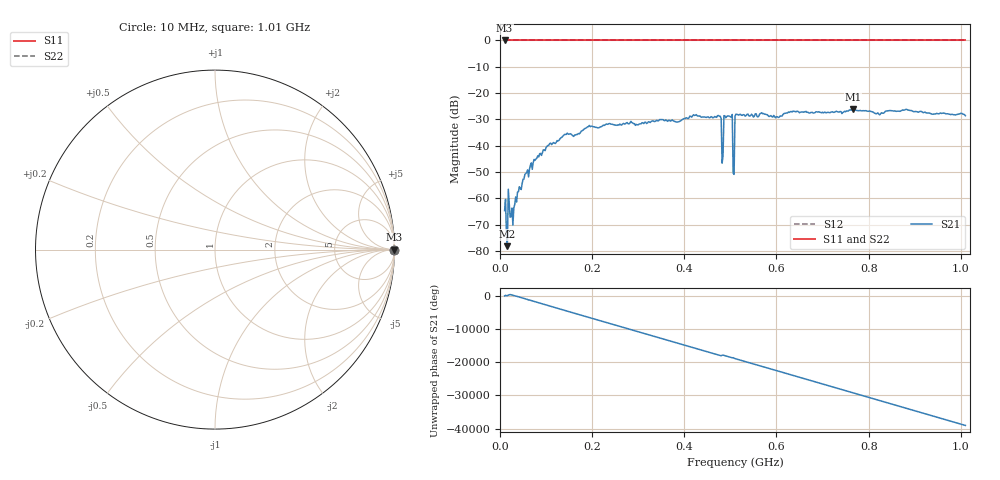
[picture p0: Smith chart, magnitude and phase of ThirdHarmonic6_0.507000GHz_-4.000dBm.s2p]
! 8/15/2025 3:21:28 PM
! C:\ANRITSUVNA\TEMP\TEMP.S2P
! CHANNEL.1
! TR.MEASUREMENT
! RAW.DATA
! RF.CORRECTION.OFF
! AVERAGING.OFF
! IF.BANDWIDTH: 5KHZ
! SWEEPTYPE:  FREQ.SWEEP(Linear)
! Reference Plane Port Info
! PORT:  PORT1  PORT2
! DISTANCE:  0  m  0  m
! TIME:  0  s  0  s
! PHASE.OFFSET:  0  deg.  0  deg.
! LOSS:  0  dB  0  dB
! REF.LOSS:  0  dB  0  dB
! REF.FREQ:  0  Hz  0  Hz
! Power Info
! POWER:  -20  dBm  -20  dBm
! EFF.POWER:  -20  dBm  -20  dBm
! SOURCE.ATTEN:  0  dB  0  dB
! TEST.ATTEN:  0  dB  0  dB
# GHZ S RI R 50.0
! FREQ.GHZ  S11RE  S11IM  S21RE  S21IM  S12RE  S12IM  S22RE  S22IM
!; PortSelection: Port_12
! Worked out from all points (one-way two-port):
!   501 points, 10 MHz to 1.01 GHz, reference 50 ohm
!   highest |S21| = -25.98 dB at 766 MHz (marker M1); lowest = -78.1 dB at 16 MHz (marker M2)
!   lowest |S11| = 0.0 dB at 10 MHz (marker M3)
!   |S11| at or under -10 dB: nowhere
!   |S22| runs from 0.0 to 0.0 dB; largest |S21 - S12| = 1
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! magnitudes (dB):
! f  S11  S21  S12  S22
! 10 MHz  0.0  -64.6  0.0  0.0
! 12 MHz  0.0  -60.3  0.0  0.0
! 16 MHz  0.0  -78.1  0.0  0.0
! 22 MHz  0.0  -67.1  0.0  0.0
! 26 MHz  0.0  -63.7  0.0  0.0
! 54 MHz  0.0  -50.9  0.0  0.0
! 78 MHz  0.0  -45.0  0.0  0.0
! 178 MHz  0.0  -34.3  0.0  0.0
! 344 MHz  0.0  -30.5  0.0  0.0
! 474 MHz  0.0  -28.5  0.0  0.0
! 480 MHz  0.0  -29.6  0.0  0.0
! 486 MHz  0.0  -28.6  0.0  0.0
! 490 MHz  0.0  -29.3  0.0  0.0
! 500 MHz  0.0  -28.9  0.0  0.0
! 504 MHz  0.0  -28.1  0.0  0.0
! 510 MHz  0.0  -28.7  0.0  0.0
! 514 MHz  0.0  -28.1  0.0  0.0
! 516 MHz  0.0  -28.1  0.0  0.0
! 678 MHz  0.0  -27.3  0.0  0.0
! 766 MHz  0.0  -26.0  0.0  0.0
! 844 MHz  0.0  -26.6  0.0  0.0
! 1.01 GHz  0.0  -28.6  0.0  0.0
